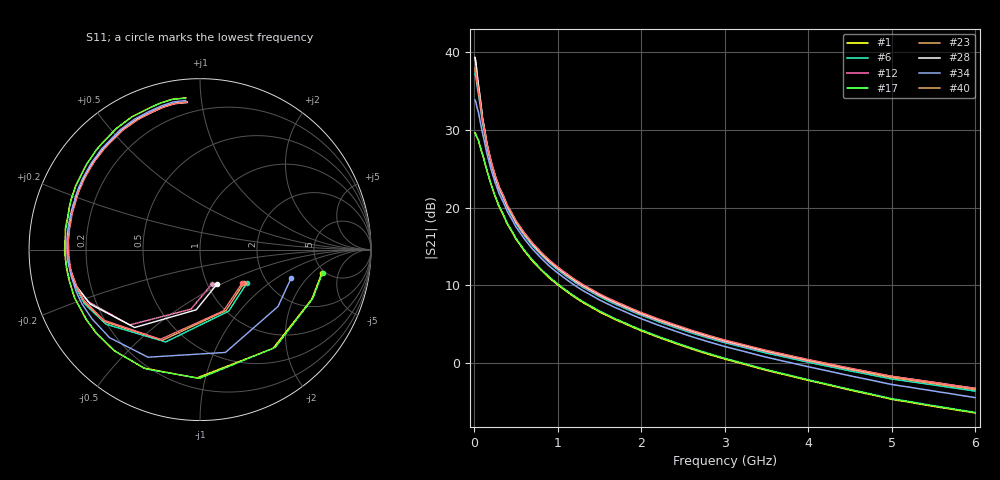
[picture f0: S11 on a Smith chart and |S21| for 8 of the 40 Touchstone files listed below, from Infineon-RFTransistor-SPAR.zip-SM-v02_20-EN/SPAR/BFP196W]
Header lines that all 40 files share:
! Infineon Technologies  Discrete & RF Semiconductors
! BFP196W
! Common Emitter S-Parameters:  Jan 2017
# GHz  S  MA  R  50
!  f  S11  S21  S12  S22
! GHz  MAG  ANG  MAG  ANG  MAG  ANG  MAG  ANG
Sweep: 10 MHz to 6 GHz
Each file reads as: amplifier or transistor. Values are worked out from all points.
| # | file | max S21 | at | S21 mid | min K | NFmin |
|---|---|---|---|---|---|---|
| 1 | BFP196W_w_noise_VCE_6.0V_IC_10mA.s2p | 29.6 dB | 10 MHz | 3.3 dB at 2.2 GHz | 0.00 | 0.91 dB |
| 2 | BFP196W_w_noise_VCE_6.0V_IC_20mA.s2p | 33.9 dB | 10 MHz | 4.7 dB at 2.2 GHz | 0.03 | 1.02 dB |
| 3 | BFP196W_w_noise_VCE_6.0V_IC_25mA.s2p | 35.1 dB | 10 MHz | 4.9 dB at 2.2 GHz | 0.07 | 1.07 dB |
| 4 | BFP196W_w_noise_VCE_6.0V_IC_30mA.s2p | 36.0 dB | 10 MHz | 5.1 dB at 2.2 GHz | 0.09 | 1.13 dB |
| 5 | BFP196W_w_noise_VCE_6.0V_IC_35mA.s2p | 36.7 dB | 10 MHz | 5.3 dB at 2.2 GHz | 0.08 | 1.19 dB |
| 6 | BFP196W_w_noise_VCE_6.0V_IC_40mA.s2p | 37.3 dB | 10 MHz | 5.4 dB at 2.2 GHz | 0.09 | 1.24 dB |
| 7 | BFP196W_w_noise_VCE_6.0V_IC_45mA.s2p | 37.8 dB | 10 MHz | 5.4 dB at 2.2 GHz | 0.11 | 1.31 dB |
| 8 | BFP196W_w_noise_VCE_6.0V_IC_50mA.s2p | 38.1 dB | 10 MHz | 5.5 dB at 2.2 GHz | 0.11 | 1.36 dB |
| 9 | BFP196W_w_noise_VCE_6.0V_IC_60mA.s2p | 38.7 dB | 10 MHz | 5.5 dB at 2.2 GHz | 0.13 | 1.47 dB |
| 10 | BFP196W_w_noise_VCE_6.0V_IC_65mA.s2p | 39.0 dB | 10 MHz | 5.5 dB at 2.2 GHz | 0.15 | 1.51 dB |
| 11 | BFP196W_w_noise_VCE_6.0V_IC_70mA.s2p | 39.2 dB | 10 MHz | 5.5 dB at 2.2 GHz | 0.16 | 1.58 dB |
| 12 | BFP196W_w_noise_VCE_6.0V_IC_75mA.s2p | 39.4 dB | 10 MHz | 5.5 dB at 2.2 GHz | 0.17 | 1.62 dB |
| 13 | BFP196W_w_noise_VCE_6.0V_IC_80mA.s2p | 39.5 dB | 10 MHz | 5.5 dB at 2.2 GHz | 0.18 | 1.68 dB |
| 14 | BFP196W_w_noise_VCE_6.0V_IC_85mA.s2p | 39.6 dB | 10 MHz | 5.4 dB at 2.2 GHz | 0.19 | 1.73 dB |
| 15 | BFP196W_w_noise_VCE_6.0V_IC_90mA.s2p | 39.7 dB | 10 MHz | 5.4 dB at 2.2 GHz | 0.20 | 1.78 dB |
| 16 | BFP196W_w_noise_VCE_7.0V_IC_5.0mA.s2p | 24.3 dB | 10 MHz | 1.2 dB at 2.2 GHz | -0.07 | 0.90 dB |
| 17 | BFP196W_w_noise_VCE_7.0V_IC_10mA.s2p | 29.6 dB | 10 MHz | 3.4 dB at 2.2 GHz | 0.00 | 0.91 dB |
| 18 | BFP196W_w_noise_VCE_7.0V_IC_20mA.s2p | 33.9 dB | 10 MHz | 4.8 dB at 2.2 GHz | 0.04 | 1.02 dB |
| 19 | BFP196W_w_noise_VCE_7.0V_IC_25mA.s2p | 35.1 dB | 10 MHz | 5.1 dB at 2.2 GHz | 0.05 | 1.07 dB |
| 20 | BFP196W_w_noise_VCE_7.0V_IC_30mA.s2p | 36.0 dB | 10 MHz | 5.3 dB at 2.2 GHz | 0.08 | 1.13 dB |
| 21 | BFP196W_w_noise_VCE_7.0V_IC_35mA.s2p | 36.7 dB | 10 MHz | 5.4 dB at 2.2 GHz | 0.09 | 1.19 dB |
| 22 | BFP196W_w_noise_VCE_7.0V_IC_40mA.s2p | 37.2 dB | 10 MHz | 5.5 dB at 2.2 GHz | 0.11 | 1.24 dB |
| 23 | BFP196W_w_noise_VCE_7.0V_IC_45mA.s2p | 37.7 dB | 10 MHz | 5.6 dB at 2.2 GHz | 0.11 | 1.31 dB |
| 24 | BFP196W_w_noise_VCE_7.0V_IC_50mA.s2p | 38.1 dB | 10 MHz | 5.6 dB at 2.2 GHz | 0.12 | 1.36 dB |
| 25 | BFP196W_w_noise_VCE_7.0V_IC_60mA.s2p | 38.7 dB | 10 MHz | 5.6 dB at 2.2 GHz | 0.14 | 1.47 dB |
| 26 | BFP196W_w_noise_VCE_7.0V_IC_65mA.s2p | 38.9 dB | 10 MHz | 5.6 dB at 2.2 GHz | 0.14 | 1.51 dB |
| 27 | BFP196W_w_noise_VCE_7.0V_IC_70mA.s2p | 39.1 dB | 10 MHz | 5.6 dB at 2.2 GHz | 0.15 | 1.58 dB |
| 28 | BFP196W_w_noise_VCE_7.0V_IC_75mA.s2p | 39.3 dB | 10 MHz | 5.6 dB at 2.2 GHz | 0.16 | 1.62 dB |
| 29 | BFP196W_w_noise_VCE_7.0V_IC_80mA.s2p | 39.4 dB | 10 MHz | 5.6 dB at 2.2 GHz | 0.18 | 1.68 dB |
| 30 | BFP196W_w_noise_VCE_7.0V_IC_85mA.s2p | 39.6 dB | 10 MHz | 5.6 dB at 2.2 GHz | 0.19 | 1.73 dB |
| 31 | BFP196W_w_noise_VCE_7.0V_IC_90mA.s2p | 39.7 dB | 10 MHz | 5.5 dB at 2.2 GHz | 0.20 | 1.78 dB |
| 32 | BFP196W_w_noise_VCE_8.0V_IC_5.0mA.s2p | 24.3 dB | 10 MHz | 1.3 dB at 2.2 GHz | 0.02 | 0.90 dB |
| 33 | BFP196W_w_noise_VCE_8.0V_IC_10mA.s2p | 29.5 dB | 10 MHz | 3.5 dB at 2.2 GHz | 0.01 | 0.91 dB |
| 34 | BFP196W_w_noise_VCE_8.0V_IC_20mA.s2p | 33.9 dB | 10 MHz | 4.9 dB at 2.2 GHz | 0.06 | 1.02 dB |
| 35 | BFP196W_w_noise_VCE_8.0V_IC_25mA.s2p | 35.0 dB | 10 MHz | 5.2 dB at 2.2 GHz | 0.06 | 1.07 dB |
| 36 | BFP196W_w_noise_VCE_8.0V_IC_30mA.s2p | 35.9 dB | 10 MHz | 5.4 dB at 2.2 GHz | 0.06 | 1.13 dB |
| 37 | BFP196W_w_noise_VCE_8.0V_IC_35mA.s2p | 36.6 dB | 10 MHz | 5.5 dB at 2.2 GHz | 0.10 | 1.19 dB |
| 38 | BFP196W_w_noise_VCE_8.0V_IC_40mA.s2p | 37.2 dB | 10 MHz | 5.6 dB at 2.2 GHz | 0.09 | 1.24 dB |
| 39 | BFP196W_w_noise_VCE_8.0V_IC_45mA.s2p | 37.6 dB | 10 MHz | 5.7 dB at 2.2 GHz | 0.12 | 1.31 dB |
| 40 | BFP196W_w_noise_VCE_8.0V_IC_50mA.s2p | 38.0 dB | 10 MHz | 5.7 dB at 2.2 GHz | 0.12 | 1.36 dB |

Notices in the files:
Hoja de datos/BFP 450/Infineon-RFTransistor-SPAR.zip-SM-v02_20-EN/SPAR/BFP196W/BFP196W_w_noise_VCE_6.0V_IC_10mA.s2p:
(c) 2017  Infineon Technologies AG, Munich
